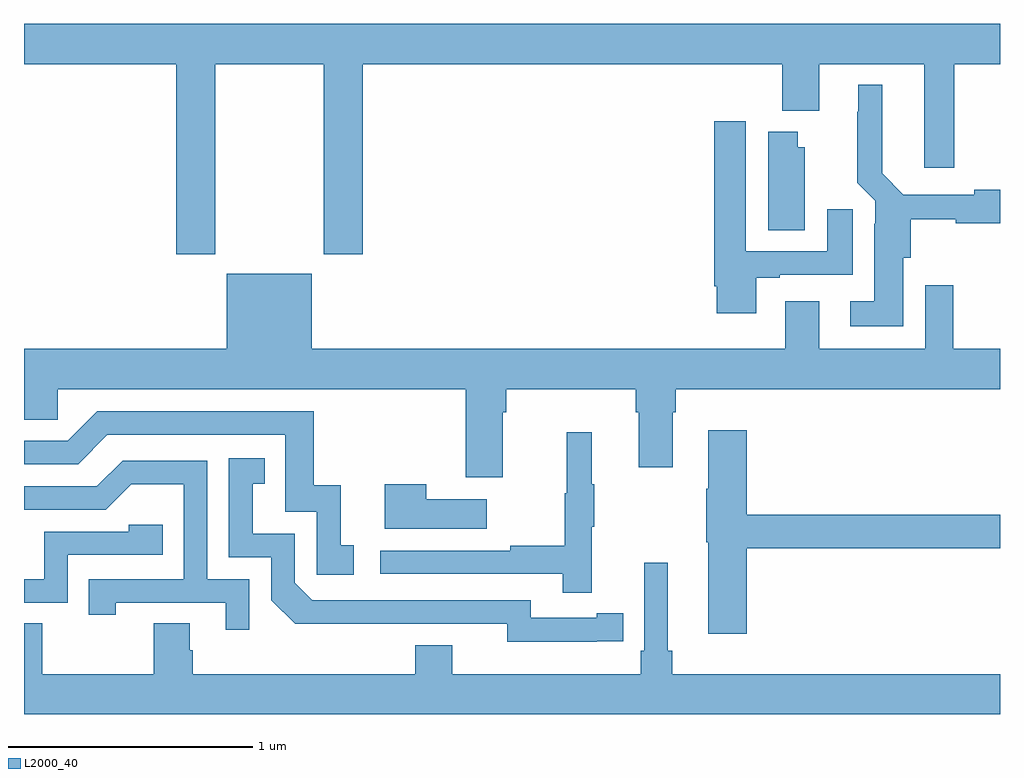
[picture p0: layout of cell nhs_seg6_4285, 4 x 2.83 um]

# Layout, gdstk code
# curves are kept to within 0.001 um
import gdstk
lib = gdstk.Library(unit=1e-6, precision=1e-09)
def P(c, l, *ps):  # polygons
    for p in ps: c.add(gdstk.Polygon(p, *l))
L2000_40 = (2000, 40)

nhs_seg6_4285 = lib.new_cell('nhs_seg6_4285')
P(nhs_seg6_4285, L2000_40, [(363.783,983.3),(364.228,983.3),(364.228,982.521),(364.388,982.521),(364.388,983.3),(366.107,983.3),(366.107,983.108),(366.259,983.108),(366.259,983.3),(366.689,983.3),(366.689,982.875),(366.812,982.875),(366.812,983.3),(367,983.3),(367,983.464),(363,983.464),(363,983.3),(363.623,983.3),(363.623,982.521),(363.783,982.521)],
  [(366.604,982.506),(366.635,982.506),(366.635,982.663),(366.818,982.663),(366.818,982.648),(367,982.648),(367,982.784),(366.895,982.784),(366.895,982.764),(366.604,982.764),(366.517,982.852),(366.517,983.215),(366.419,983.215),(366.419,983.105),(366.415,983.105),(366.415,982.814),(366.489,982.74),(366.489,982.646),(366.485,982.646),(366.485,982.327),(366.387,982.327),(366.387,982.226),(366.604,982.226)],
  [(366.001,982.425),(366.097,982.425),(366.097,982.437),(366.397,982.437),(366.397,982.705),(366.293,982.705),(366.293,982.533),(365.959,982.533),(365.959,983.065),(365.828,983.065),(365.828,982.39),(365.84,982.39),(365.84,982.278),(366.001,982.278)],
  [(366.199,982.959),(366.172,982.959),(366.172,983.023),(366.05,983.023),(366.05,982.618),(366.199,982.618)],
  [(364.963,981.872),(364.976,981.872),(364.976,981.968),(365.507,981.968),(365.507,981.872),(365.519,981.872),(365.519,981.648),(365.659,981.648),(365.659,981.872),(365.672,981.872),(365.672,981.968),(367,981.968),(367,982.132),(366.809,982.132),(366.809,982.393),(366.693,982.393),(366.693,982.132),(366.259,982.132),(366.259,982.327),(366.119,982.327),(366.119,982.132),(364.18,982.132),(364.18,982.441),(363.83,982.441),(363.83,982.132),(363,982.132),(363,981.841),(363.138,981.841),(363.138,981.968),(364.811,981.968),(364.811,981.606),(364.963,981.606)],
  [(364.351,981.327),(364.298,981.327),(364.298,981.574),(364.187,981.574),(364.187,981.876),(363.3,981.876),(363.18,981.756),(363,981.756),(363,981.66),(363.222,981.66),(363.342,981.78),(364.071,981.78),(364.071,981.465),(364.2,981.465),(364.2,981.207),(364.351,981.207)],
  [(365.963,981.316),(367,981.316),(367,981.452),(365.963,981.452),(365.963,981.799),(365.804,981.799),(365.804,981.56),(365.797,981.56),(365.797,981.339),(365.804,981.339),(365.804,980.964),(365.963,980.964)],
  [(365.327,981.403),(365.338,981.403),(365.338,981.577),(365.327,981.577),(365.327,981.79),(365.224,981.79),(365.224,981.54),(365.217,981.54),(365.217,981.326),(364.993,981.326),(364.993,981.306),(364.461,981.306),(364.461,981.21),(365.209,981.21),(365.209,981.132),(365.327,981.132)],
  [(365.348,980.934),(365.456,980.934),(365.456,981.05),(365.348,981.05),(365.348,981.03),(365.076,981.03),(365.076,981.102),(364.182,981.102),(364.11,981.174),(364.11,981.375),(363.937,981.375),(363.937,981.579),(363.986,981.579),(363.986,981.685),(363.84,981.685),(363.84,981.279),(364.014,981.279),(364.014,981.102),(364.112,981.005),(364.98,981.006),(364.98,980.933)],
  [(363.924,981.189),(363.75,981.189),(363.75,981.675),(363.404,981.675),(363.299,981.57),(363,981.57),(363,981.474),(363.336,981.474),(363.44,981.578),(363.654,981.578),(363.654,981.189),(363.265,981.189),(363.265,981.042),(363.376,981.042),(363.376,981.093),(363.827,981.093),(363.827,980.982),(363.924,980.982)],
  [(364.897,981.517),(364.649,981.517),(364.649,981.577),(364.478,981.577),(364.478,981.395),(364.897,981.395)],
  [(363.18,981.288),(363.569,981.288),(363.569,981.411),(363.429,981.411),(363.429,981.384),(363.084,981.384),(363.084,981.189),(363,981.189),(363,981.093),(363.18,981.093)],
  [(367,980.8),(365.657,980.8),(365.657,980.896),(365.638,980.896),(365.638,981.256),(365.541,981.256),(365.541,980.896),(365.528,980.896),(365.528,980.8),(364.756,980.8),(364.756,980.917),(364.604,980.917),(364.604,980.8),(363.692,980.8),(363.692,980.898),(363.679,980.898),(363.679,981.008),(363.532,981.008),(363.532,980.8),(363.075,980.8),(363.075,981.008),(363,981.008),(363,980.636),(367,980.636)])

lib.write_gds('nhs_seg6_4285.gds')
